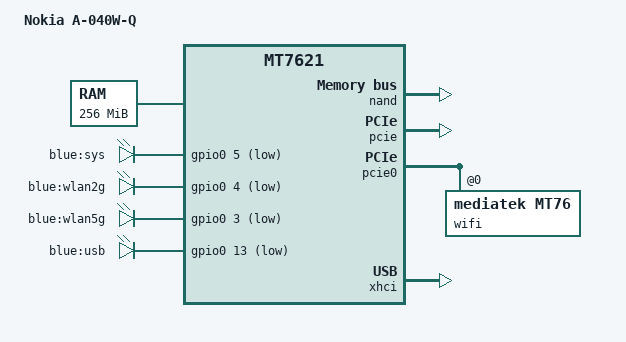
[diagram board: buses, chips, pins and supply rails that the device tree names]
/dts-v1/;

#include "mt7621.dtsi"
#include <dt-bindings/gpio/gpio.h>


/ {
	compatible = "nokia,a040w-q", "ralink,mt7621-soc";
	model = "Nokia A-040W-Q";

	memory@0 {
		device_type = "memory";
		reg = <0x0 0x10000000>;
	};
	
	chosen {
		bootargs = "console=ttyS0,115200";
	};
	
	leds: leds {
		compatible = "gpio-leds";
		
		led_sys: sys {
			label = "blue:sys";
			gpios = <&gpio0 5 GPIO_ACTIVE_LOW>;//power led is always on, this #GPIO is randomly selected.
		};

		wlan2g {
			label = "blue:wlan2g";
			gpios = <&gpio0 4 GPIO_ACTIVE_LOW>;
		};

		wlan5g {
			label = "blue:wlan5g";
			gpios = <&gpio0 3 GPIO_ACTIVE_LOW>;
		};

		led_usb: usb {
			label = "blue:usb";
			gpios = <&gpio0 13 GPIO_ACTIVE_LOW>;
			trigger-sources = <&xhci_ehci_port1>, <&ehci_port2>;
			linux,default-trigger = "usbport";
		};
	};
};



&nand {
	status = "okay";

	partitions {
		compatible = "fixed-partitions";
		#address-cells = <1>;
		#size-cells = <1>;

		partition@0 {
			label = "u-boot";
			reg = <0x0 0x80000>;
			read-only;
		};

		partition@80000 {
			label = "u-boot-env";
			reg = <0x80000 0x80000>;
			read-only;
		};
		
		factory: partition@100000 {
			label = "factory";
			reg = <0x100000 0x40000>;
		};
		
		partition@140000 {
			label = "linux";
			reg = <0x140000 0x2000000>;
		};

		partition@0x540000 {
			label = "ubi";
			reg = <0x540000 0x1c00000>;
		};
		
		partition@2140000 {
			label = "nvram";
			reg = <0x2140000 0x200000>;
		};
		
		partition@2340000 {
			label = "ddwrt";
			reg = <0x2340000 0x4f00000>;
		};

	};
};

&pcie {
	status = "okay";
};

&pcie0 {
	wifi@0,0 {
		compatible = "mediatek,mt76";
		reg = <0x0 0 0 0 0>;
		mediatek,mtd-eeprom = <&factory 0x0>;
		mtd-mac-address = <&factory 0x4>;
	};
};


&pinctrl {
	state_default: pinctrl0 {
		gpio {
			ralink,group = "uart3", "uart2", "jtag", "wdt";
			ralink,function = "gpio";
		};
	};
};

&xhci {
	status = "okay";
};

